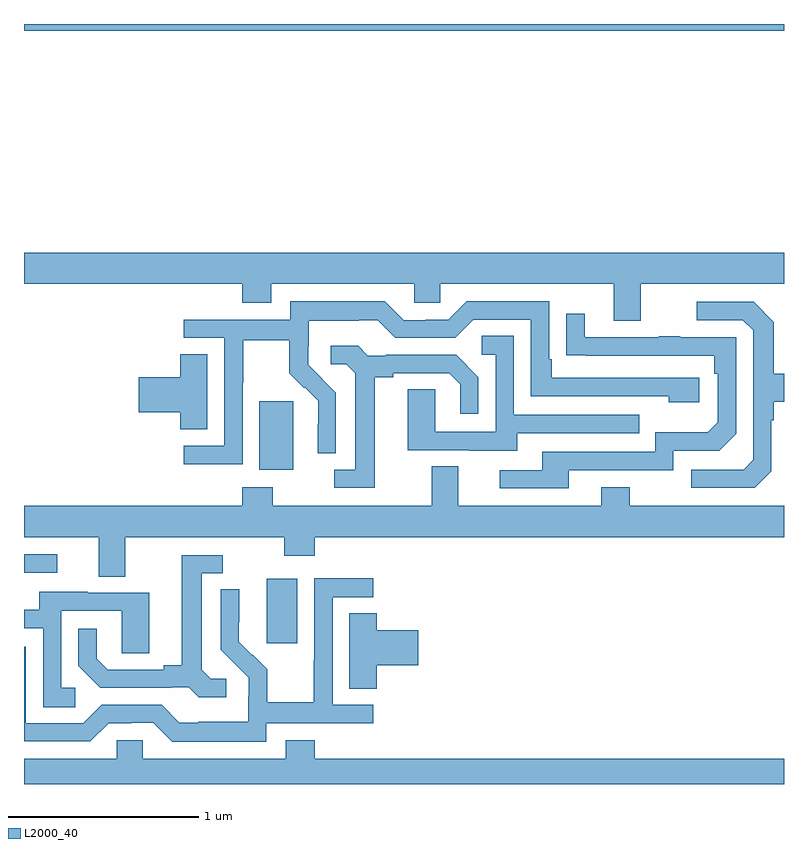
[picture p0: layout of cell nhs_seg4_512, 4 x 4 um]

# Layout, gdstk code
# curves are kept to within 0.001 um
import gdstk
lib = gdstk.Library(unit=1e-6, precision=1e-09)
def R(c, l, rs):  # rectangles x0, y0, x1, y1
    for r in rs: c.add(gdstk.rectangle(r[:2], r[2:], *l))
def P(c, l, *ps):  # polygons
    for p in ps: c.add(gdstk.Polygon(p, *l))
L2000_40 = (2000, 40)

nhs_seg4_512 = lib.new_cell('nhs_seg4_512')
R(nhs_seg4_512, L2000_40, [(138.278,749.64,138.439,749.98), (137,750.012,137.176,750.108), (138.239,750.554,138.418,750.915), (137,752.864,141,752.9)])
P(nhs_seg4_512, L2000_40, [(140.245,751.532),(141,751.532),(141,751.696),(137,751.696),(137,751.532),(138.149,751.532),(138.149,751.433),(138.301,751.433),(138.301,751.532),(139.053,751.532),(139.053,751.434),(139.191,751.434),(139.191,751.532),(140.105,751.532),(140.105,751.338),(140.245,751.338)],
  [(138.15,751.012),(138.153,751.012),(138.153,751.236),(138.397,751.236),(138.397,751.061),(138.474,750.984),(138.477,750.987),(138.548,750.917),(138.548,750.794),(138.546,750.794),(138.546,750.64),(138.642,750.64),(138.642,750.958),(138.496,751.106),(138.496,751.203),(138.498,751.203),(138.498,751.337),(138.761,751.337),(138.761,751.341),(138.861,751.341),(138.954,751.248),(139.269,751.248),(139.365,751.344),(139.668,751.344),(139.668,750.942),(140.393,750.942),(140.393,750.908),(140.554,750.908),(140.554,751.038),(139.777,751.038),(139.777,751.135),(139.764,751.135),(139.764,751.44),(139.329,751.44),(139.233,751.344),(139.115,751.344),(139.115,751.341),(138.999,751.341),(138.899,751.441),(138.402,751.441),(138.402,751.344),(137.841,751.344),(137.841,751.248),(138.054,751.248),(138.054,750.681),(137.841,750.681),(137.841,750.583),(138.15,750.583)],
  [(140.934,750.546),(140.934,750.815),(140.947,750.815),(140.947,750.911),(141,750.911),(141,751.059),(140.947,751.059),(140.947,751.331),(140.841,751.437),(140.541,751.437),(140.541,751.341),(140.784,751.341),(140.838,751.287),(140.838,750.606),(140.787,750.555),(140.511,750.555),(140.511,750.459),(140.847,750.459)],
  [(139.867,750.552),(140.418,750.552),(140.418,750.654),(140.658,750.654),(140.748,750.744),(140.748,751.251),(140.453,751.251),(140.453,751.256),(140.341,751.256),(140.341,751.251),(139.951,751.251),(139.951,751.375),(139.855,751.375),(139.855,751.156),(140.632,751.155),(140.632,751.058),(140.652,751.058),(140.652,750.804),(140.599,750.751),(140.322,750.751),(140.322,750.648),(139.727,750.648),(139.727,750.552),(139.503,750.552),(139.503,750.456),(139.867,750.456)],
  [(139.597,750.747),(140.237,750.747),(140.237,750.843),(139.578,750.843),(139.578,751.259),(139.41,751.259),(139.41,751.158),(139.482,751.158),(139.482,750.753),(139.164,750.753),(139.164,750.977),(139.019,750.977),(139.019,750.657),(139.343,750.657),(139.343,750.653),(139.597,750.653)],
  [(138.847,751.04),(138.943,751.04),(138.943,751.062),(139.238,751.062),(139.295,751.005),(139.295,750.849),(139.392,750.849),(139.392,751.042),(139.276,751.158),(138.904,751.158),(138.904,751.155),(138.81,751.155),(138.758,751.207),(138.615,751.207),(138.615,751.11),(138.696,751.11),(138.743,751.063),(138.743,750.555),(138.633,750.555),(138.633,750.459),(138.847,750.459)],
  [(137.965,751.163),(137.822,751.163),(137.822,751.04),(137.604,751.04),(137.604,750.857),(137.822,750.857),(137.822,750.766),(137.965,750.766)],
  [(137.533,750.2),(138.37,750.2),(138.37,750.101),(138.53,750.101),(138.53,750.2),(141,750.2),(141,750.364),(140.187,750.364),(140.187,750.463),(140.039,750.463),(140.039,750.364),(139.285,750.364),(139.285,750.572),(139.145,750.572),(139.145,750.364),(138.309,750.364),(138.309,750.463),(138.149,750.463),(138.149,750.364),(137,750.364),(137,750.2),(137.393,750.2),(137.393,749.992),(137.533,749.992)],
  [(138.064,749.454),(137.982,749.454),(137.935,749.501),(137.935,750.009),(138.046,750.009),(138.046,750.105),(137.831,750.105),(137.831,749.525),(137.735,749.525),(137.735,749.502),(137.44,749.502),(137.383,749.559),(137.383,749.716),(137.286,749.716),(137.286,749.522),(137.402,749.406),(137.774,749.406),(137.774,749.409),(137.868,749.409),(137.92,749.357),(138.064,749.357)],
  [(138.276,749.22),(138.838,749.22),(138.838,749.316),(138.624,749.316),(138.624,749.883),(138.838,749.883),(138.838,749.982),(138.528,749.982),(138.528,749.552),(138.526,749.552),(138.526,749.329),(138.281,749.329),(138.281,749.503),(138.204,749.58),(138.201,749.577),(138.131,749.648),(138.131,749.752),(138.133,749.752),(138.133,749.924),(138.036,749.924),(138.036,749.606),(138.182,749.458),(138.182,749.361),(138.18,749.361),(138.18,749.227),(137.917,749.227),(137.917,749.223),(137.817,749.223),(137.724,749.316),(137.409,749.316),(137.313,749.22),(137.01,749.22),(137.01,749.622),(137,749.622),(137,749.124),(137.349,749.124),(137.445,749.22),(137.564,749.22),(137.564,749.223),(137.679,749.223),(137.779,749.123),(138.276,749.123)],
  [(137.269,749.406),(137.196,749.406),(137.196,749.811),(137.514,749.811),(137.514,749.587),(137.659,749.587),(137.659,749.907),(137.335,749.907),(137.335,749.911),(137.081,749.911),(137.081,749.817),(137,749.817),(137,749.721),(137.1,749.721),(137.1,749.305),(137.269,749.305)],
  [(138.857,749.525),(139.075,749.525),(139.075,749.708),(138.857,749.708),(138.857,749.798),(138.713,749.798),(138.713,749.401),(138.857,749.401)],
  [(141,749.032),(138.53,749.032),(138.53,749.131),(138.377,749.131),(138.377,749.032),(137.625,749.032),(137.625,749.13),(137.487,749.13),(137.487,749.032),(137,749.032),(137,748.9),(141,748.9)])

lib.write_gds('nhs_seg4_512.gds')
